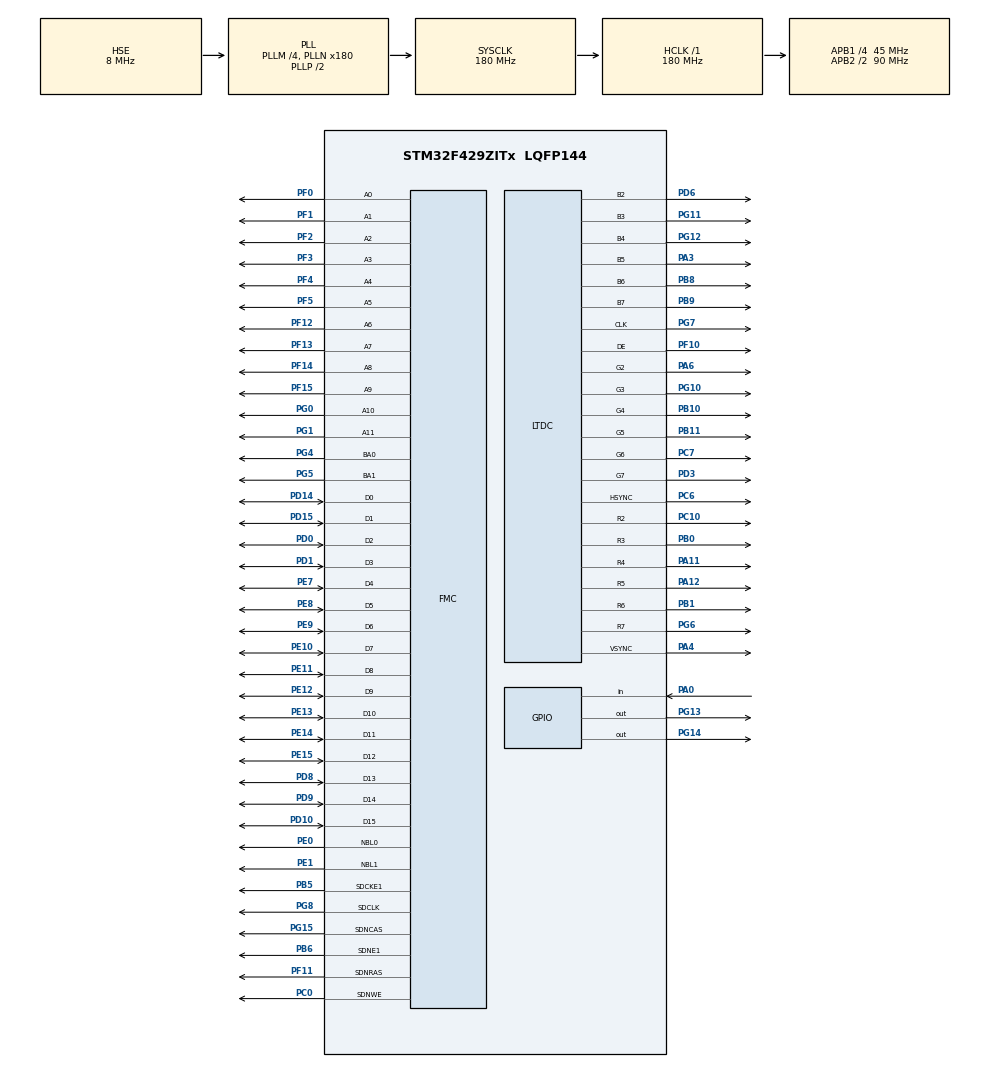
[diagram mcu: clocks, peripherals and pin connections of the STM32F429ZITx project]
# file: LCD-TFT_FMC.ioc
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Mcu.Family=STM32F4
LTDC.BlendingFactor1_L0=LTDC_BLENDING_FACTOR1_PAxCA
SH.FMC_D7_DA7.0=FMC_D7,sd-16b-d1
PA6.Mode=RGB666
SH.FMC_A8.0=FMC_A8,12b-sda1
RCC.CortexFreq_Value=180000000
FMC.SDClockPeriod2=FMC_SDRAM_CLOCK_PERIOD_3
PG6.Signal=LTDC_R7
FMC.RCDDelay1=2
FMC.SDClockPeriod1=FMC_SDRAM_CLOCK_PERIOD_3
SH.FMC_A0.0=FMC_A0,12b-sda1
RCC.PLLSAIDivR=RCC_PLLSAIDIVR_4
PB10.Mode=RGB666
SH.FMC_D14_DA14.0=FMC_D14,sd-16b-d1
LTDC.HBP=20
PG4.Signal=FMC_A14_BA0
PG8.Signal=FMC_SDCLK
PC10.Signal=LTDC_R2
PG0.Signal=FMC_A10
SH.FMC_NBL0.0=FMC_NBL0,Sd2ByteEnable1
FMC.LoadToActiveDelay1=2
SH.FMC_D6_DA6.0=FMC_D6,sd-16b-d1
PA11.Mode=RGB666
PA0/WKUP.Signal=GPIO_Input
SH.FMC_A14_BA0.0=FMC_BA0,FourSdramBanks1
SH.FMC_A11.0=FMC_A11,12b-sda1
SH.FMC_D5_DA5.0=FMC_D5,sd-16b-d1
PB11.Signal=LTDC_G5
PG6.Mode=RGB666
PG13.Signal=GPIO_Output
PG11.Signal=LTDC_B3
PG15.Signal=FMC_SDNCAS
RCC.SYSCLKSource=RCC_SYSCLKSOURCE_PLLCLK
ProjectManager.StackSize=0x400
SH.FMC_A15_BA1.0=FMC_BA1,FourSdramBanks1
SH.FMC_D9_DA9.0=FMC_D9,sd-16b-d1
SH.FMC_A7.0=FMC_A7,12b-sda1
PA12.Signal=LTDC_R5
PA4.Mode=RGB666
SH.FMC_SDNWE.0=FMC_SDNWE,12b-sda1
SH.FMC_D11_DA11.0=FMC_D11,sd-16b-d1
PH0/OSC_IN.Mode=HSE-External-Oscillator
RCC.HCLKFreq_Value=180000000
RCC.APB2TimFreq_Value=180000000
PB6.Signal=FMC_SDNE1
PC7.Signal=LTDC_G6
SH.FMC_NBL1.0=FMC_NBL1,Sd2ByteEnable1
LTDC.WindowX1_L0=240
PH1/OSC_OUT.Signal=RCC_OSC_OUT
PF12.Signal=FMC_A6
PB6.Mode=SdramChipSelect2_1
PD0.Signal=FMC_D2_DA2
PD8.Signal=FMC_D13_DA13
PE1.Signal=FMC_NBL1
NVIC.FMC_IRQn=true\:0\:0\:false\:false\:true\:true\:true
SH.FMC_A10.0=FMC_A10,12b-sda1
RCC.AHBFreq_Value=180000000
RCC.HSE_VALUE=8000000
SH.FMC_D8_DA8.0=FMC_D8,sd-16b-d1
FMC.ExitSelfRefreshDelay1=7
FMC.RPDelay2=2
FMC.RPDelay1=2
FMC.SelfRefreshTime1=4
SH.FMC_D2_DA2.0=FMC_D2,sd-16b-d1
LTDC.PixelFormat_L0=LTDC_PIXEL_FORMAT_RGB565
PE13.Signal=FMC_D10_DA10
PE9.Signal=FMC_D6_DA6
SH.FMC_A2.0=FMC_A2,12b-sda1
PF11.Signal=FMC_SDNRAS
PB5.Mode=SdramChipSelect2_1
LTDC.HFP=10
LTDC.BlendingFactor2_L0=LTDC_BLENDING_FACTOR2_PAxCA
SH.FMC_D1_DA1.0=FMC_D1,sd-16b-d1
FMC.ReadPipeDelay1=FMC_SDRAM_RPIPE_DELAY_1
FMC.ReadPipeDelay2=FMC_SDRAM_RPIPE_DELAY_1
PF3.Signal=FMC_A3
SH.FMC_SDNRAS.0=FMC_SDNRAS,12b-sda1
PD3.Mode=RGB666
LTDC.ActiveW=240
PH1/OSC_OUT.Mode=HSE-External-Oscillator
PE10.Signal=FMC_D7_DA7
LTDC.HSync=10
Mcu.Package=LQFP144
PB9.Signal=LTDC_B7
PB1.Signal=LTDC_R6
PA6.Signal=LTDC_G2
SH.FMC_D0_DA0.0=FMC_D0,sd-16b-d1
NVIC.LTDC_ER_IRQn=true\:0\:0\:false\:false\:true\:true\:true
SH.FMC_A9.0=FMC_A9,12b-sda1
SH.FMC_D4_DA4.0=FMC_D4,sd-16b-d1
FMC.WriteRecoveryTime1=3
RCC.PLLSAIN=66
PF5.Signal=FMC_A5
SH.FMC_A1.0=FMC_A1,12b-sda1
RCC.PLLSAIR=6
RCC.APB2CLKDivider=RCC_HCLK_DIV2
SH.FMC_SDCLK.0=FMC_SDCLK,12b-sda1
LTDC.VSync=2
PF14.Signal=FMC_A8
RCC.APB1TimFreq_Value=90000000
FMC.RowCycleDelay2=7
PF0.Signal=FMC_A0
PF10.Mode=RGB666
FMC.RowCycleDelay1=7
PE7.Signal=FMC_D4_DA4
PD6.Signal=LTDC_B2
PD15.Signal=FMC_D1_DA1
SH.FMC_D3_DA3.0=FMC_D3,sd-16b-d1
PA3.Signal=LTDC_B5
PG12.Signal=LTDC_B4
RCC.PLLSourceVirtual=RCC_PLLSOURCE_HSE
SH.FMC_A4.0=FMC_A4,12b-sda1
NVIC.LTDC_IRQn=true\:0\:0\:false\:false\:true\:true\:true
LTDC.VFP=4
LTDC.WindowY1_L0=320
PG7.Signal=LTDC_CLK
PG1.Signal=FMC_A11
PG5.Signal=FMC_A15_BA1
SH.FMC_D10_DA10.0=FMC_D10,sd-16b-d1
PD3.Signal=LTDC_G7
PC6.Signal=LTDC_HSYNC
PC10.Mode=RGB666
PG10.Mode=RGB666
PD1.Signal=FMC_D3_DA3
PD9.Signal=FMC_D14_DA14
PC0.Signal=FMC_SDNWE
RCC.APB1CLKDivider=RCC_HCLK_DIV4
PD6.Mode=RGB666
PG10.Signal=LTDC_G3
LTDC.ImageWidth_L0=240
PD10.Signal=FMC_D15_DA15
PA3.Mode=RGB666
SH.FMC_A3.0=FMC_A3,12b-sda1
FMC.CASLatency1=FMC_SDRAM_CAS_LATENCY_3
PB11.Mode=RGB666
ProjectManager.TargetToolchain=STM32CubeIDE
SH.FMC_D15_DA15.0=FMC_D15,sd-16b-d1
SH.FMC_D13_DA13.0=FMC_D13,sd-16b-d1
LTDC.ActiveH=320
PC6.Mode=RGB666
PB9.Mode=RGB666
PF2.Signal=FMC_A2
PE11.Signal=FMC_D8_DA8
PG7.Mode=RGB666
RCC.LSE_VALUE=32768
PB10.Signal=LTDC_G4
PG14.Signal=GPIO_Output
PB0.Mode=RGB666
board=custom
PG12.Mode=RGB666
RCC.VCOOutputFreq_Value=360000000
PH0/OSC_IN.Signal=RCC_OSC_IN
SH.FMC_A6.0=FMC_A6,12b-sda1
RCC.APB2Freq_Value=90000000
PE14.Signal=FMC_D11_DA11
PE15.Signal=FMC_D12_DA12
LTDC.Layers=0
PE8.Signal=FMC_D5_DA5
PF10.Signal=LTDC_DE
SH.FMC_D12_DA12.0=FMC_D12,sd-16b-d1
PF15.Signal=FMC_A9
PF13.Signal=FMC_A7
PF1.Signal=FMC_A1
SH.FMC_SDNCAS.0=FMC_SDNCAS,12b-sda1
Mcu.Name=STM32F429ZITx
PE0.Signal=FMC_NBL0
PE12.Signal=FMC_D9_DA9
PD14.Signal=FMC_D0_DA0
RCC.48MHZClocksFreq_Value=90000000
PA4.Signal=LTDC_VSYNC
RCC.SYSCLKFreq_VALUE=180000000
PB5.Signal=FMC_SDCKE1
PA12.Mode=RGB666
SH.FMC_A5.0=FMC_A5,12b-sda1
PG11.Mode=RGB666
LTDC.Alpha_L0=255
PA11.Signal=LTDC_R4
ProjectManager.HeapSize=0x200
PB1.Mode=RGB666
RCC.HSI_VALUE=16000000
NVIC.PriorityGroup=NVIC_PRIORITYGROUP_4
RCC.PLLM=4
PB8.Mode=RGB666
RCC.PLLN=180
PB8.Signal=LTDC_B6
PF4.Signal=FMC_A4
PC7.Mode=RGB666
RCC.APB1Freq_Value=45000000
LTDC.ImageHeight_L0=320
PB0.Signal=LTDC_R3

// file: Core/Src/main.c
/* USER CODE BEGIN Header */
/**
  ******************************************************************************
  * @file           : main.c
  * @brief          : Main program body
  ******************************************************************************
  * @attention
  *
  * <h2><center>&copy; Copyright (c) 2021 STMicroelectronics.
  * All rights reserved.</center></h2>
  *
  * This software component is licensed by ST under BSD 3-Clause license,
  * the "License"; You may not use this file except in compliance with the
  * License. You may obtain a copy of the License at:
  *                        opensource.org/licenses/BSD-3-Clause
  *
  ******************************************************************************
  */
/* USER CODE END Header */
#include "main.h"

/* USER CODE BEGIN Includes */
#include "IMG_240x320_RGB565.h"
#include "Girafa_240x320.h"
#include "Driver_9341.h"
#include "stdbool.h"
#include "string.h"
/* USER CODE END Includes */

LTDC_HandleTypeDef hltdc;

SDRAM_HandleTypeDef hsdram1;

/* USER CODE BEGIN PV */
FMC_SDRAM_CommandTypeDef command;
/* USER CODE END PV */

void SystemClock_Config(void);
static void MX_GPIO_Init(void);
static void MX_FMC_Init(void);
static void MX_LTDC_Init(void);
/* USER CODE BEGIN PFP */
static void SDRAM_Initialization_Sequence(SDRAM_HandleTypeDef *hsdram, FMC_SDRAM_CommandTypeDef *Command);
/* USER CODE END PFP */

int main(void)
{
  /* USER CODE BEGIN 1 */
	bool bImage = false;
	uint32_t ulDebounce = 0;
  /* USER CODE END 1 */

  /* MCU Configuration--------------------------------------------------------*/

  /* Reset of all peripherals, Initializes the Flash interface and the Systick. */
  HAL_Init();

  /* Configure the system clock */
  SystemClock_Config();

  /* Initialize all configured peripherals */
  MX_GPIO_Init();
  MX_FMC_Init();
  MX_LTDC_Init();
  /* USER CODE BEGIN 2 */
  /* Write data to the SDRAM memory */
  memset((uint32_t*)FRAMEBUFFER_1, 0x00, sizeof(image_data_Girafa_240x320));
  for (uint32_t uwIndex = 0; uwIndex < sizeof(image_data_Girafa_240x320); uwIndex++)
    *(__IO uint32_t*) (FRAMEBUFFER_1  + 4*uwIndex) = image_data_Girafa_240x320[uwIndex];

  memset((uint32_t*)FRAMEBUFFER_2, 0x00, sizeof(image_data_TESTE));
  for (uint32_t uwIndex = 0; uwIndex < sizeof(image_data_TESTE); uwIndex++)
	 *(__IO uint32_t*) (FRAMEBUFFER_2  + 4*uwIndex) = image_data_TESTE[uwIndex];
  /* USER CODE END 2 */

  /* Infinite loop */
  while (1)
  {

    /* USER CODE BEGIN 3 */

	 if(HAL_GPIO_ReadPin(GPIOA, GPIO_PIN_0) && HAL_GetTick() > ulDebounce){
		 HAL_LTDC_SetAddress(&hltdc, ((bImage) ? (FRAMEBUFFER_1):(FRAMEBUFFER_2)), LTDC_LAYER_1);
		 bImage = !bImage;
		 ulDebounce = HAL_GetTick() + 250;
	 }
  }

  /* USER CODE END 3 */
}

void SystemClock_Config(void)
{
  RCC_OscInitTypeDef RCC_OscInitStruct = {0};
  RCC_ClkInitTypeDef RCC_ClkInitStruct = {0};
  RCC_PeriphCLKInitTypeDef PeriphClkInitStruct = {0};

  /** Configure the main internal regulator output voltage
  */
  __HAL_RCC_PWR_CLK_ENABLE();
  __HAL_PWR_VOLTAGESCALING_CONFIG(PWR_REGULATOR_VOLTAGE_SCALE1);
  /** Initializes the RCC Oscillators according to the specified parameters
  * in the RCC_OscInitTypeDef structure.
  */
  RCC_OscInitStruct.OscillatorType = RCC_OSCILLATORTYPE_HSE;
  RCC_OscInitStruct.HSEState = RCC_HSE_ON;
  RCC_OscInitStruct.PLL.PLLState = RCC_PLL_ON;
  RCC_OscInitStruct.PLL.PLLSource = RCC_PLLSOURCE_HSE;
  RCC_OscInitStruct.PLL.PLLM = 4;
  RCC_OscInitStruct.PLL.PLLN = 180;
  RCC_OscInitStruct.PLL.PLLP = RCC_PLLP_DIV2;
  RCC_OscInitStruct.PLL.PLLQ = 4;
  if (HAL_RCC_OscConfig(&RCC_OscInitStruct) != HAL_OK)
  {
    Error_Handler();
  }
  /** Activate the Over-Drive mode
  */
  if (HAL_PWREx_EnableOverDrive() != HAL_OK)
  {
    Error_Handler();
  }
  /** Initializes the CPU, AHB and APB buses clocks
  */
  RCC_ClkInitStruct.ClockType = RCC_CLOCKTYPE_HCLK|RCC_CLOCKTYPE_SYSCLK
                              |RCC_CLOCKTYPE_PCLK1|RCC_CLOCKTYPE_PCLK2;
  RCC_ClkInitStruct.SYSCLKSource = RCC_SYSCLKSOURCE_PLLCLK;
  RCC_ClkInitStruct.AHBCLKDivider = RCC_SYSCLK_DIV1;
  RCC_ClkInitStruct.APB1CLKDivider = RCC_HCLK_DIV4;
  RCC_ClkInitStruct.APB2CLKDivider = RCC_HCLK_DIV2;

  if (HAL_RCC_ClockConfig(&RCC_ClkInitStruct, FLASH_LATENCY_5) != HAL_OK)
  {
    Error_Handler();
  }
  PeriphClkInitStruct.PeriphClockSelection = RCC_PERIPHCLK_LTDC;
  PeriphClkInitStruct.PLLSAI.PLLSAIN = 66;
  PeriphClkInitStruct.PLLSAI.PLLSAIR = 6;
  PeriphClkInitStruct.PLLSAIDivR = RCC_PLLSAIDIVR_4;
  if (HAL_RCCEx_PeriphCLKConfig(&PeriphClkInitStruct) != HAL_OK)
  {
    Error_Handler();
  }
}

static void MX_LTDC_Init(void)
{

  /* USER CODE BEGIN LTDC_Init 0 */
	ili9341_Init();
  /* USER CODE END LTDC_Init 0 */

  LTDC_LayerCfgTypeDef pLayerCfg = {0};

  hltdc.Instance = LTDC;
  hltdc.Init.HSPolarity = LTDC_HSPOLARITY_AL;
  hltdc.Init.VSPolarity = LTDC_VSPOLARITY_AL;
  hltdc.Init.DEPolarity = LTDC_DEPOLARITY_AL;
  hltdc.Init.PCPolarity = LTDC_PCPOLARITY_IPC;
  hltdc.Init.HorizontalSync = 9;
  hltdc.Init.VerticalSync = 1;
  hltdc.Init.AccumulatedHBP = 29;
  hltdc.Init.AccumulatedVBP = 3;
  hltdc.Init.AccumulatedActiveW = 269;
  hltdc.Init.AccumulatedActiveH = 323;
  hltdc.Init.TotalWidth = 279;
  hltdc.Init.TotalHeigh = 327;
  hltdc.Init.Backcolor.Blue = 0;
  hltdc.Init.Backcolor.Green = 0;
  hltdc.Init.Backcolor.Red = 0;
  if (HAL_LTDC_Init(&hltdc) != HAL_OK)
  {
    Error_Handler();
  }
  pLayerCfg.WindowX0 = 0;
  pLayerCfg.WindowX1 = 240;
  pLayerCfg.WindowY0 = 0;
  pLayerCfg.WindowY1 = 320;
  pLayerCfg.PixelFormat = LTDC_PIXEL_FORMAT_RGB565;
  pLayerCfg.Alpha = 255;
  pLayerCfg.Alpha0 = 0;
  pLayerCfg.BlendingFactor1 = LTDC_BLENDING_FACTOR1_PAxCA;
  pLayerCfg.BlendingFactor2 = LTDC_BLENDING_FACTOR2_PAxCA;
  pLayerCfg.FBStartAdress = (uint32_t) SDRAM_BANK_ADDR;
  pLayerCfg.ImageWidth = 240;
  pLayerCfg.ImageHeight = 320;
  pLayerCfg.Backcolor.Blue = 0;
  pLayerCfg.Backcolor.Green = 0;
  pLayerCfg.Backcolor.Red = 0;
  if (HAL_LTDC_ConfigLayer(&hltdc, &pLayerCfg, 0) != HAL_OK)
  {
    Error_Handler();
  }

}

/* FMC initialization function */
static void MX_FMC_Init(void)
{

  FMC_SDRAM_TimingTypeDef SdramTiming = {0};

  /** Perform the SDRAM1 memory initialization sequence
  */
  hsdram1.Instance = FMC_SDRAM_DEVICE;
  /* hsdram1.Init */
  hsdram1.Init.SDBank = FMC_SDRAM_BANK2;
  hsdram1.Init.ColumnBitsNumber = FMC_SDRAM_COLUMN_BITS_NUM_8;
  hsdram1.Init.RowBitsNumber = FMC_SDRAM_ROW_BITS_NUM_12;
  hsdram1.Init.MemoryDataWidth = FMC_SDRAM_MEM_BUS_WIDTH_16;
  hsdram1.Init.InternalBankNumber = FMC_SDRAM_INTERN_BANKS_NUM_4;
  hsdram1.Init.CASLatency = FMC_SDRAM_CAS_LATENCY_3;
  hsdram1.Init.WriteProtection = FMC_SDRAM_WRITE_PROTECTION_DISABLE;
  hsdram1.Init.SDClockPeriod = FMC_SDRAM_CLOCK_PERIOD_3;
  hsdram1.Init.ReadBurst = FMC_SDRAM_RBURST_DISABLE;
  hsdram1.Init.ReadPipeDelay = FMC_SDRAM_RPIPE_DELAY_1;
  /* SdramTiming */
  SdramTiming.LoadToActiveDelay = 2;
  SdramTiming.ExitSelfRefreshDelay = 7;
  SdramTiming.SelfRefreshTime = 4;
  SdramTiming.RowCycleDelay = 7;
  SdramTiming.WriteRecoveryTime = 3;
  SdramTiming.RPDelay = 2;
  SdramTiming.RCDDelay = 2;

  if (HAL_SDRAM_Init(&hsdram1, &SdramTiming) != HAL_OK)
  {
    Error_Handler( );
  }

  /* USER CODE BEGIN FMC_Init 2 */
  SDRAM_Initialization_Sequence(&hsdram1,&command);
  /* USER CODE END FMC_Init 2 */
}

static void MX_GPIO_Init(void)
{
  GPIO_InitTypeDef GPIO_InitStruct = {0};

  /* GPIO Ports Clock Enable */
  __HAL_RCC_GPIOF_CLK_ENABLE();
  __HAL_RCC_GPIOH_CLK_ENABLE();
  __HAL_RCC_GPIOC_CLK_ENABLE();
  __HAL_RCC_GPIOA_CLK_ENABLE();
  __HAL_RCC_GPIOB_CLK_ENABLE();
  __HAL_RCC_GPIOG_CLK_ENABLE();
  __HAL_RCC_GPIOE_CLK_ENABLE();
  __HAL_RCC_GPIOD_CLK_ENABLE();

  /*Configure GPIO pin Output Level */
  HAL_GPIO_WritePin(GPIOG, GPIO_PIN_13|GPIO_PIN_14, GPIO_PIN_RESET);

  /*Configure GPIO pin : PA0 */
  GPIO_InitStruct.Pin = GPIO_PIN_0;
  GPIO_InitStruct.Mode = GPIO_MODE_INPUT;
  GPIO_InitStruct.Pull = GPIO_NOPULL;
  HAL_GPIO_Init(GPIOA, &GPIO_InitStruct);

  /*Configure GPIO pins : PG13 PG14 */
  GPIO_InitStruct.Pin = GPIO_PIN_13|GPIO_PIN_14;
  GPIO_InitStruct.Mode = GPIO_MODE_OUTPUT_PP;
  GPIO_InitStruct.Pull = GPIO_NOPULL;
  GPIO_InitStruct.Speed = GPIO_SPEED_FREQ_LOW;
  HAL_GPIO_Init(GPIOG, &GPIO_InitStruct);

}

/* USER CODE BEGIN 4 */
static void SDRAM_Initialization_Sequence(SDRAM_HandleTypeDef *hsdram, FMC_SDRAM_CommandTypeDef *Command)
{
  __IO uint32_t tmpmrd =0;
  /* Step 3:  Configure a clock configuration enable command */
  Command->CommandMode 			 = FMC_SDRAM_CMD_CLK_ENABLE;
  Command->CommandTarget 		 = FMC_SDRAM_CMD_TARGET_BANK2;
  Command->AutoRefreshNumber 	 = 1;
  Command->ModeRegisterDefinition = 0;

  /* Send the command */
  HAL_SDRAM_SendCommand(hsdram, Command, 0x1000);

  /* Step 4: Insert 100 ms delay */
  HAL_Delay(100);

  /* Step 5: Configure a PALL (precharge all) command */
  Command->CommandMode 			 = FMC_SDRAM_CMD_PALL;
  Command->CommandTarget 	     = FMC_SDRAM_CMD_TARGET_BANK2;
  Command->AutoRefreshNumber 	 = 1;
  Command->ModeRegisterDefinition = 0;

  /* Send the command */
  HAL_SDRAM_SendCommand(hsdram, Command, 0x1000);

  /* Step 6 : Configure a Auto-Refresh command */
  Command->CommandMode 			 = FMC_SDRAM_CMD_AUTOREFRESH_MODE;
  Command->CommandTarget 		 = FMC_SDRAM_CMD_TARGET_BANK2;
  Command->AutoRefreshNumber 	 = 4;
  Command->ModeRegisterDefinition = 0;

  /* Send the command */
  HAL_SDRAM_SendCommand(hsdram, Command, 0x1000);

  /* Step 7: Program the external memory mode register */
  tmpmrd = (uint32_t)SDRAM_MODEREG_BURST_LENGTH_2          |
                     SDRAM_MODEREG_BURST_TYPE_SEQUENTIAL   |
                     SDRAM_MODEREG_CAS_LATENCY_3           |
                     SDRAM_MODEREG_OPERATING_MODE_STANDARD |
                     SDRAM_MODEREG_WRITEBURST_MODE_SINGLE;

  Command->CommandMode = FMC_SDRAM_CMD_LOAD_MODE;
  Command->CommandTarget 		 = FMC_SDRAM_CMD_TARGET_BANK2;
  Command->AutoRefreshNumber 	 = 1;
  Command->ModeRegisterDefinition = tmpmrd;

  /* Send the command */
  HAL_SDRAM_SendCommand(hsdram, Command, 0x1000);

  /* Step 8: Set the refresh rate counter */
  /* (15.62 us x Freq) - 20 */
  /* Set the device refresh counter */
  HAL_SDRAM_ProgramRefreshRate(hsdram, REFRESH_COUNT);
}

/* USER CODE END 4 */

void Error_Handler(void)
{
  __disable_irq();
  while (1)
  {
  }
}

/************************ (C) COPYRIGHT STMicroelectronics *****END OF FILE****/
